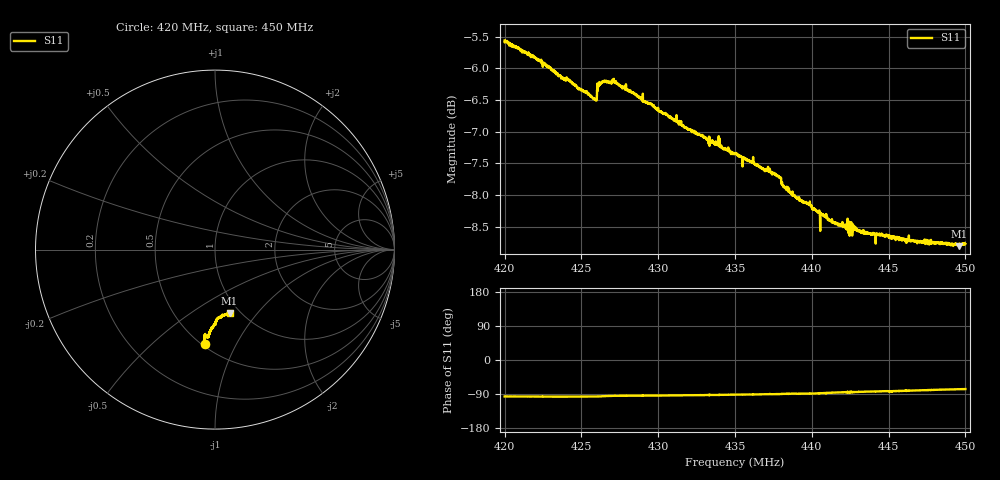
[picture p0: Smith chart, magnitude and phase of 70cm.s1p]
! Calibrated averaged scanner-service zoom
# Hz S RI R 50
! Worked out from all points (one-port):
!   3001 points, 420 MHz to 450 MHz, reference 50 ohm
!   lowest |S11| = -8.8 dB at 449.6 MHz (marker M1), VSWR 2.14, Z = 44.8 - j36.5 ohm
!   |S11| at or under -10 dB: nowhere
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4.2e8  -0.0569 -0.5241
4.2223e8  -0.0573 -0.5055
4.2375e8  -0.058 -0.4892
4.2416e8  -0.0571 -0.4876
4.2585e8  -0.055 -0.4711
4.2599e8  -0.0547 -0.4696
4.2617e8  -0.0524 -0.486
4.2641e8  -0.0479 -0.4869
4.2716e8  -0.0375 -0.4876
4.275e8  -0.0375 -0.4845
4.3125e8  -0.0258 -0.4543
4.3285e8  -0.0212 -0.4432
4.335e8  -0.017 -0.4377
4.35e8  -0.0108 -0.4288
4.3784e8  0.000504 -0.4117
4.3816e8  0.00434 -0.4042
4.3875e8  0.00803 -0.3987
4.3916e8  0.00607 -0.3946
4.4002e8  0.00961 -0.3891
4.4139e8  0.0257 -0.3781
4.4218e8  0.0342 -0.3759
4.425e8  0.0301 -0.3737
4.4474e8  0.0486 -0.3659
4.4517e8  0.0493 -0.3654
4.4625e8  0.0576 -0.3623
4.4816e8  0.0727 -0.3579
4.4957e8  0.0815 -0.3536
4.5e8  0.084 -0.3546
